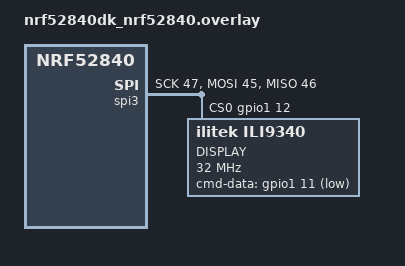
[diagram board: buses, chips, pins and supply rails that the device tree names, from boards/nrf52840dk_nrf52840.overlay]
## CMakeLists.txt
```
#
# Copyright (c) 2020 Nordic Semiconductor
#
# SPDX-License-Identifier: LicenseRef-BSD-5-Clause-Nordic
#

cmake_minimum_required(VERSION 3.13.1)

find_package(Zephyr REQUIRED HINTS $ENV{ZEPHYR_BASE})
project(awtk)

zephyr_compile_definitions(HAS_AWTK_CONFIG)

zephyr_include_directories(src)
zephyr_include_directories(src/tp)

FILE(GLOB app_sources src/*.c src/tp/*.c)
target_sources(app PRIVATE ${app_sources})
```

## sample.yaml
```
sample:
  name: AWTK sample application
  description: awtk
tests:
  sample.display.adafruit_2_8_tft_touch_v2:
    platform_whitelist: nrf52840dk_nrf52840
    extra_args: SHIELD=adafruit_2_8_tft_touch_v2
    tags: shield
```

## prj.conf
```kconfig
#
# Copyright (c) 2020 Nordic Semiconductor
#
# SPDX-License-Identifier: LicenseRef-BSD-5-Clause-Nordic
#
CONFIG_AWTK=y

CONFIG_NEWLIB_LIBC=y

CONFIG_MAIN_STACK_SIZE=2048

CONFIG_DISPLAY=y
CONFIG_ILI9340=y
CONFIG_ILI9340_RGB565=y

CONFIG_SPI=y

CONFIG_I2C=y
```

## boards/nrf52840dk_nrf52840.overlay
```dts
/*
 * Copyright (c) 2020 Nordic Semiconductor ASA
 *
 * SPDX-License-Identifier: Apache-2.0
 */

arduino_spi: &spi3 {
	compatible = "nordic,nrf-spim";
	status = "okay";
	sck-pin = <47>;
	miso-pin = <46>;
	mosi-pin = <45>;
	cs-gpios = <&gpio1 12 0>;

	ili9340@0 {
		compatible = "ilitek,ili9340";
		label = "DISPLAY";
		spi-max-frequency = <32000000>;
		reg = <0>;
		cmd-data-gpios = <&gpio1 11 GPIO_ACTIVE_LOW>;
	};
};
```

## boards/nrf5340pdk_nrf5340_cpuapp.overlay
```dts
/*
 * Copyright (c) 2020 Nordic Semiconductor ASA
 *
 * SPDX-License-Identifier: Apache-2.0
 */

&i2c1 {
	compatible = "nordic,nrf-twim";
	status = "okay";
	sda-pin = <34>;
	scl-pin = <35>;
	clock-frequency = <I2C_BITRATE_FAST>;
};

&spi2 {
	compatible = "nordic,nrf-spim";
	status = "disabled";
	sck-pin = <47>;
	miso-pin = <46>;
	mosi-pin = <45>;
};

&spi4 {
	compatible = "nordic,nrf-spim";
	status = "okay";
	sck-pin = <47>;
	miso-pin = <46>;
	mosi-pin = <45>;
	cs-gpios = <&gpio1 12 0>;

	ili9340@0 {
		compatible = "ilitek,ili9340";
		label = "DISPLAY";
		spi-max-frequency = <32000000>;
		reg = <0>;
		cmd-data-gpios = <&gpio1 11 GPIO_ACTIVE_LOW>;
	};
};
```

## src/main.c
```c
/*
 * Copyright (c) 2020 Nordic Semiconductor ASA
 *
 * SPDX-License-Identifier: LicenseRef-BSD-5-Clause-Nordic
 */

#include <zephyr.h>
#include <drivers/display.h>
#include "awtk.h"
#include "assets.h"
#include "awtk_platform.h"

static ret_t on_btn_close(void* ctx, event_t* e);

static ret_t on_btn_slide_h(void* ctx, event_t* e)
{
	widget_t* win = (widget_t*)ctx;

	if (e->type == EVT_CLICK) {
		window_close(win);
		win = window_create(NULL, 0, 0, 0, 0);

		widget_t* btn_close;
		btn_close = button_create(win, 220, 20, 80, 30);
		widget_set_text(btn_close, L"close");
		widget_on(btn_close, EVT_CLICK, on_btn_close, win);

		widget_t* view;
		widget_t* image;
		widget_t* slide_view;

		slide_view = slide_view_create(win, 0, 80, win->w, win->h - 80);

		view = image_create(slide_view, 0, 0, slide_view->w, slide_view->h);
		image = image_create(view, 0, 0, slide_view->w, slide_view->h);
		image_set_draw_type(image, IMAGE_DRAW_CENTER);
		image_set_image(image, "1");

		view = image_create(slide_view, 0, 0, slide_view->w, slide_view->h);
		image = image_create(view, 0, 0, slide_view->w, slide_view->h);
		image_set_draw_type(image, IMAGE_DRAW_CENTER);
		image_set_image(image, "2");

		view = image_create(slide_view, 0, 0, slide_view->w, slide_view->h);
		image = image_create(view, 0, 0, slide_view->w, slide_view->h);
		image_set_draw_type(image, IMAGE_DRAW_CENTER);
		image_set_image(image, "3");
	}

	return RET_OK;
}

static ret_t on_btn_slide_v(void* ctx, event_t* e)
{
	widget_t* win = (widget_t*)ctx;

	if (e->type == EVT_CLICK) {
		window_close(win);

		win = window_create(NULL, 0, 0, 0, 0);

		widget_t* btn_close;
		btn_close = button_create(win, 220, 20, 80, 30);
		widget_set_text(btn_close, L"close");
		widget_on(btn_close, EVT_CLICK, on_btn_close, win);

		widget_t* view;
		widget_t* image;
		widget_t* slide_view;

		slide_view = slide_view_create(win, 0, 0, win->w - 120, win->h);
		slide_view_set_vertical(slide_view, true);

		view = image_create(slide_view, 0, 0, slide_view->w, slide_view->h);
		image = image_create(view, 0, 0, slide_view->w, slide_view->h);
		image_set_draw_type(image, IMAGE_DRAW_CENTER);
		image_set_image(image, "1");

		view = image_create(slide_view, 0, 0, slide_view->w, slide_view->h);
		image = image_create(view, 0, 0, slide_view->w, slide_view->h);
		image_set_draw_type(image, IMAGE_DRAW_CENTER);
		image_set_image(image, "2");

		view = image_create(slide_view, 0, 0, slide_view->w, slide_view->h);
		image = image_create(view, 0, 0, slide_view->w, slide_view->h);
		image_set_draw_type(image, IMAGE_DRAW_CENTER);
		image_set_image(image, "3");
	}

	return RET_OK;
}

static void add_button(widget_t* slide_menu, const char* text)
{
	widget_t* b = button_create(slide_menu, 0, 0, 0, 0);
	widget_set_name(b, text);
	widget_set_text_utf8(b, text);
}

static ret_t on_btn_slide_m(void* ctx, event_t* e)
{
	widget_t* win = (widget_t*)ctx;

	if (e->type == EVT_CLICK) {
		window_close(win);

		win = window_create(NULL, 0, 0, 0, 0);

		widget_t* slide_menu;
		slide_menu = slide_menu_create(win, 10, 90, 300, 60);
		add_button(slide_menu, "1");
		add_button(slide_menu, "2");
		add_button(slide_menu, "3");
		add_button(slide_menu, "4");
		add_button(slide_menu, "5");
		add_button(slide_menu, "6");

		widget_t* btn_close;
		btn_close = button_create(win, 220, 20, 80, 30);
		widget_set_text(btn_close, L"close");
		widget_on(btn_close, EVT_CLICK, on_btn_close, win);
	}

	return RET_OK;
}

static ret_t on_btn_hello(void* ctx, event_t* e)
{
	widget_t* win = (widget_t*)ctx;

	if (e->type == EVT_CLICK) {
		window_close(win);

		win = window_create(NULL, 0, 0, 0, 0);

		widget_t* image;
		image = image_create(win, 10, 10, 24, 24);
		image_set_image(image, "earth");
		image_set_draw_type(image, IMAGE_DRAW_DEFAULT);

		widget_t* image_2;
		image_2 = image_create(win, 60, 140, 100, 73);
		image_set_image(image_2, "2");
		image_set_draw_type(image_2, IMAGE_DRAW_DEFAULT);

		widget_t* image_3;
		image_3 = image_create(win, 190, 140, 100, 73);
		image_set_image(image_3, "3");
		image_set_draw_type(image_3, IMAGE_DRAW_DEFAULT);

		widget_t *label = label_create(win, 100, 80, 100, 20);
		widget_set_text(label, L"Hello World!");

		widget_t* btn_close;
		btn_close = button_create(win, 220, 20, 80, 30);
		widget_set_text(btn_close, L"close");
		widget_on(btn_close, EVT_CLICK, on_btn_close, win);
	}

	return RET_OK;
}

static void main_window_create(void)
{
	widget_t* win = window_create(NULL, 0, 0, 0, 0);

	widget_t* btn_hello;
	btn_hello = button_create(win, 25, 25, 120, 80);
	widget_set_text(btn_hello, L"hello");
	widget_on(btn_hello, EVT_CLICK, on_btn_hello, win);

	widget_t* btn_slide_m;
	btn_slide_m = button_create(win, 175, 25, 120, 80);
	widget_set_text(btn_slide_m, L"slide_menu");
	widget_on(btn_slide_m, EVT_CLICK, on_btn_slide_m, win);
	
	widget_t* btn_slide_h;
	btn_slide_h = button_create(win, 25, 135, 120, 80);
	widget_set_text(btn_slide_h, L"slide_view h");
	widget_on(btn_slide_h, EVT_CLICK, on_btn_slide_h, win);

	widget_t* btn_slide_v;
	btn_slide_v = button_create(win, 175, 135, 120, 80);
	widget_set_text(btn_slide_v, L"slide_view v");
	widget_on(btn_slide_v, EVT_CLICK, on_btn_slide_v, win);
}

static ret_t on_btn_close(void* ctx, event_t* e)
{
	widget_t* win = (widget_t*)ctx;

	if (e->type == EVT_CLICK) {
		window_close(win);

		main_window_create();
	}

	return RET_OK;
}

void main(void)
{
	if (platform_init()) {
		return;
	}

	struct device *display_dev = get_display_dev();
	struct display_capabilities cap;

	display_get_capabilities(display_dev, &cap);

	tk_init(cap.x_resolution, cap.y_resolution, APP_MOBILE, NULL, NULL);

	assets_init();

	tk_ext_widgets_init();

	main_window_create();

	tk_run();
}
```

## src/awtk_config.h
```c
/*
 * Copyright (c) 2020 Nordic Semiconductor ASA
 *
 * SPDX-License-Identifier: LicenseRef-BSD-5-Clause-Nordic
 */

/**
 * File:   awtk_config.h
 * Author: AWTK Develop Team
 * Brief:  config
 *
 * Copyright (c) 2018 - 2019  Guangzhou ZHIYUAN Electronics Co.,Ltd.
 *
 * This program is distributed in the hope that it will be useful,
 * but WITHOUT ANY WARRANTY; without even the implied warranty of
 * MERCHANTABILITY or FITNESS FOR A PARTICULAR PURPOSE.  See the
 * License file for more details.
 *
 */

/**
 * History:
 * ================================================================
 * 2018-09-12 Li XianJing <xianjimli@hotmail.com> created
 *
 */

#ifndef AWTK_CONFIG_H
#define AWTK_CONFIG_H

/**
 * 嵌入式系统有自己的main函数时，请定义本宏。
 *
 */
 #define USE_GUI_MAIN 1

/**
 * 如果需要支持预先解码的位图字体，请定义本宏。一般只在RAM极小时，才启用本宏。
 *
 */
 #define WITH_BITMAP_FONT 1

/**
 * 如果支持png/jpeg图片，请定义本宏
 *
 * #define WITH_STB_IMAGE 1
 */

/**
 * 如果用stb支持Truetype字体，请定义本宏
 *
 * #define WITH_STB_FONT 1
 */

/**
 * 如果用freetype支持Truetype字体，请定义本宏。
 *
 * #define WITH_FT_FONT 1
 */

/**
 * 如果支持从文件系统加载资源，请定义本宏
 *
 * #define WITH_FS_RES 1
 */

/**
 * 如果定义本宏，使用标准的UNICODE换行算法，除非资源极为有限，请定义本宏。
 *
 * #define WITH_UNICODE_BREAK 1
 */

/**
 * 如果定义本宏，将图片解码成BGRA8888格式，否则解码成RGBA8888的格式。
 * 当硬件的2D加速需要BGRA格式时，请启用本宏。
 *
 * #define WITH_BITMAP_BGRA 1
 */

/**
 * 如果定义本宏，将不透明的PNG图片解码成BGR565格式，建议定义。
 * 另外和LCD的格式保存一致，可以大幅度提高性能。
 *
 * #define WITH_BITMAP_BGR565 1
 */

/**
 * 如果不需输入法，请定义本宏
 *
 */
 #define WITH_NULL_IM 1

/**
 * 如果有标准的malloc/free/calloc等函数，请定义本宏
 *
 * #define HAS_STD_MALLOC 1
 */

/**
 * 如果有标准的fopen/fclose等函数，请定义本宏
 *
 * #define HAS_STDIO 1
 */

/**
 * 如果有标准的pthread等函数，请定义本宏
 *
 * #define HAS_PTHREAD 1
 */

/**
 * 如果有优化版本的memcpy函数，请定义本宏
 *
 */
 #define HAS_FAST_MEMCPY 1

/**
 * 如果出现wcsxxx之类的函数没有定义时，请定义该宏
 *
 */
 #define WITH_WCSXXX 1

/**
 * 如果启用STM32 G2D硬件加速，请定义本宏
 *
 * #define WITH_STM32_G2D 1
 */

/**
 * 如果启用NXP PXP硬件加速，请定义本宏
 *
 * #define WITH_PXP_G2D 1
 */

/**
 * 在没有GPU时，如果启用agge作为nanovg的后端(较agg作为后端：小，快，图形质量稍差)，请定义本宏。
 *
 * #define WITH_NANOVG_AGGE 1
 */

/**
 * 在没有GPU时，如果启用agg作为nanovg的后端(较agge作为后端：大，慢，图形质量好)，请定义本宏。
 * 注意：agg是以GPL协议开源。
 *
 * #define WITH_NANOVG_AGG 1
 */

/**
 * 如果启用鼠标指针，请定义本宏
 *
 * #define ENABLE_CURSOR 1
 */

/**
 * 对于低端平台，如果不使用控件动画，请定义本宏。
 *
 * #define WITHOUT_WIDGET_ANIMATORS 1
 */

/**
 * 对于低端平台，如果不使用窗口动画，请定义本宏。
 *
 */
 #define WITHOUT_WINDOW_ANIMATORS 1

/**
 * 对于低端平台，如果不使用对话框高亮策略，请定义本宏。
 *
 */
 #define WITHOUT_DIALOG_HIGHLIGHTER 1

/**
 * 对于低端平台，如果不使用扩展控件，请定义本宏。
 *
 * #define WITHOUT_EXT_WIDGETS 1
 */

/**
 * 对于低端平台，如果内存不足以提供完整的FrameBuffer，请定义本宏启用局部FrameBuffer，可大幅度提高渲染性能。
 *
 */
 #define FRAGMENT_FRAME_BUFFER_SIZE 320 * 240

#endif /*AWTK_CONFIG_H*/
```

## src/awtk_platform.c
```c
/*
 * Copyright (c) 2020 Nordic Semiconductor ASA
 *
 * SPDX-License-Identifier: LicenseRef-BSD-5-Clause-Nordic
 */

#include <stdlib.h>
#include <zephyr.h>
#include <device.h>
#include <drivers/display.h>

#include "awtk.h"
#include "awtk_platform.h"
#include "awtk_tp_poll.h"
#include "main_loop/main_loop_simple.h"
#include "lcd/lcd_mem_fragment.h"

#ifndef HAS_STD_MALLOC
/* Memory heap dedicated to AWTK. */
static u32_t m_heap_mem[8 * 1024];
#endif

static struct device *m_display_dev;

static void fill_screen(struct device *display_dev, u8_t *p_rgb)
{
	struct display_capabilities cap;
	u8_t *p_buff;

	display_get_capabilities(display_dev, &cap);

#ifndef HAS_STD_MALLOC
	if (sizeof(m_heap_mem) < 2 * cap.x_resolution) {
		return;
	}

	p_buff = (u8_t *)m_heap_mem;
#else
	p_buff = malloc(2 * cap.x_resolution);
#endif
	if (p_buff == NULL) {
		return;
	}

	struct display_buffer_descriptor buf_desc;
	u16_t i;
	u16_t rgb = (*(p_rgb + 2) >> 3) | ((*(p_rgb + 1) >> 2) << 5) | ((*(p_rgb + 0) >> 3) << 11);

	for (i = 0; i < cap.x_resolution; i++) {
		*(p_buff + i * 2 + 0) = (rgb >> 8) & 0xFF;
		*(p_buff + i * 2 + 1) = (rgb     ) & 0xFF;
	}

	buf_desc.pitch = cap.x_resolution;
	buf_desc.width = cap.x_resolution;
	buf_desc.height = 1;
	buf_desc.buf_size = sizeof(2 * cap.x_resolution);

	for (i = 0; i < cap.y_resolution; i++) {
		display_write(display_dev, 0, i, &buf_desc, p_buff);
	}

#ifdef HAS_STD_MALLOC
	free(p_buff);
#endif
}

struct device *get_display_dev(void)
{
	return m_display_dev;
}

int platform_init(void)
{
	m_display_dev = device_get_binding(DT_LABEL(DT_INST(0, ilitek_ili9340)));

	return (m_display_dev != NULL) ? 0 : -ENODEV;
}

ret_t platform_prepare(void)
{
	u8_t rgb[3] = {0x0, 0x0, 0x0};

	display_blanking_on(m_display_dev);

	fill_screen(m_display_dev, rgb);

	display_blanking_off(m_display_dev);

	tp_poll_init();

#ifndef HAS_STD_MALLOC
	tk_mem_init(m_heap_mem, sizeof(m_heap_mem));
#endif

	return RET_OK;
}

static lcd_t *platform_create_lcd(wh_t w, wh_t h)
{
	return lcd_mem_fragment_create(w, h);
}

static ret_t platform_disaptch_input(main_loop_t *l)
{
	static tp_poll_pos_t touch_pos_0;
	tp_poll_pos_t touch_pos;

	while (!tp_poll_get_pos(&touch_pos)) {
		if (touch_pos.z) {
			if (touch_pos.z != touch_pos_0.z ||
			    touch_pos.x != touch_pos_0.x ||
			    touch_pos.y != touch_pos_0.y) {
				main_loop_post_pointer_event(l, TRUE, touch_pos.x, touch_pos.y);
			}
		}
		else if (!touch_pos.z && touch_pos_0.z) {
			main_loop_post_pointer_event(l, FALSE, touch_pos_0.x, touch_pos_0.y);
		}

		touch_pos_0 = touch_pos;
	}

	return RET_OK;
}

#include "main_loop/main_loop_raw.inc"

#include "tkc/fs.h"

fs_t *os_fs(void)
{
	return NULL;
}
```

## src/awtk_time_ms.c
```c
/*
 * Copyright (c) 2020 Nordic Semiconductor ASA
 *
 * SPDX-License-Identifier: LicenseRef-BSD-5-Clause-Nordic
 */

#include <zephyr.h>

u64_t m_uptime_cnt;
s64_t m_uptime_last;

uint64_t get_time_ms64(void)
{
	s64_t uptime_delta;

	uptime_delta = k_uptime_delta(&m_uptime_last);
	m_uptime_cnt += uptime_delta;

	return m_uptime_cnt;
}

void sleep_ms(uint32_t ms)
{
	k_sleep(K_MSEC(ms));
}
```

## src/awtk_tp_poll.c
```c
/*
 * Copyright (c) 2020 Nordic Semiconductor ASA
 *
 * SPDX-License-Identifier: LicenseRef-BSD-5-Clause-Nordic
 */

#include <zephyr.h>
#include <device.h>

#include "awtk.h"
#include "awtk_tp_poll.h"

#define POLL_INTERVAL	K_MSEC(20)

#define POLL_FIFO_CNT	2

typedef struct {
	void *fifo_internal;
	tp_poll_pos_t tp_pos;
} pos_fifo_t;

static pos_fifo_t m_pos_poll[POLL_FIFO_CNT];
static K_FIFO_DEFINE(m_fifo_free);
static K_FIFO_DEFINE(m_fifo_used);

static struct k_delayed_work m_tp_poll;

static void tp_poll_work_fn(struct k_work *work);

void tp_poll_init(void)
{
	u32_t i;

	for (i = 0; i < POLL_FIFO_CNT; i++) {
		k_fifo_put(&m_fifo_free, m_pos_poll + i);
	}

	touch_ft6206_init();

	k_delayed_work_init(&m_tp_poll, tp_poll_work_fn);
	k_delayed_work_submit(&m_tp_poll, POLL_INTERVAL);
}

int tp_poll_get_pos(tp_poll_pos_t *p_pos)
{
	pos_fifo_t *p_fifo;

	p_fifo = k_fifo_get(&m_fifo_used, K_NO_WAIT);

	if (p_fifo != NULL) {
		*p_pos = p_fifo->tp_pos;
		k_fifo_put(&m_fifo_free, p_fifo);
	}
	
	return (p_fifo != NULL) ? 0 : -1;
}

static void tp_poll_work_fn(struct k_work *work)
{
	static tp_poll_pos_t tp_poll_pos_0;
	pos_fifo_t *p_fifo;

	p_fifo = k_fifo_get(&m_fifo_free, K_NO_WAIT);
	if (p_fifo != NULL) {
		touch_pos_t touch_pos = touch_ft6206_get();

		/* Map touch panel position to screen position. */
		p_fifo->tp_pos.x = 320 - touch_pos.y;
		p_fifo->tp_pos.y = touch_pos.x;
		p_fifo->tp_pos.z = touch_pos.z;

		if (!p_fifo->tp_pos.z && !tp_poll_pos_0.z) {
			/* Touch panel is idle. Do not report. */
			k_fifo_put(&m_fifo_free, p_fifo);
		} else {
			tp_poll_pos_0 = p_fifo->tp_pos;
			k_fifo_put(&m_fifo_used, p_fifo);
		}
	}

	k_delayed_work_submit(&m_tp_poll, POLL_INTERVAL);
}
```

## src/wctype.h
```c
/*
 * Copyright (c) 2020 Nordic Semiconductor ASA
 *
 * SPDX-License-Identifier: LicenseRef-BSD-5-Clause-Nordic
 */

#ifndef __WCTYPE_H__
#define __WCTYPE_H__

#include <stddef.h>

#ifdef __cplusplus
extern "C" {
#endif

int iswspace(wchar_t ch);

#ifdef __cplusplus
}
#endif

#endif
```
